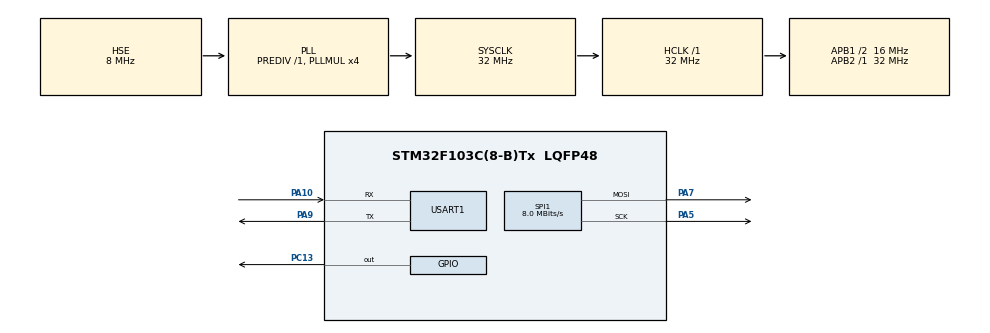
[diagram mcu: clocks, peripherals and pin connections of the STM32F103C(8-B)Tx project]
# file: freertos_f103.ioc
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FREERTOS.Tasks01=defaultTask,24,128,StartDefaultTask,Default,NULL,Dynamic,NULL,NULL
Mcu.Family=STM32F1
Mcu.Name=STM32F103C(8-B)Tx
Mcu.Package=LQFP48
NVIC.PriorityGroup=NVIC_PRIORITYGROUP_4
NVIC.SPI1_IRQn=true\:5\:0\:false\:false\:true\:true\:true\:true\:true
NVIC.TIM4_IRQn=true\:15\:0\:false\:false\:true\:false\:false\:true\:true
NVIC.TimeBase=TIM4_IRQn
NVIC.TimeBaseIP=TIM4
NVIC.USART1_IRQn=true\:5\:0\:false\:false\:true\:true\:true\:true\:true
PA10.Mode=Asynchronous
PA10.Signal=USART1_RX
PA13.Mode=Serial_Wire
PA13.Signal=SYS_JTMS-SWDIO
PA14.Mode=Serial_Wire
PA14.Signal=SYS_JTCK-SWCLK
PA5.Mode=TX_Only_Simplex_Unidirect_Master
PA5.Signal=SPI1_SCK
PA7.Mode=TX_Only_Simplex_Unidirect_Master
PA7.Signal=SPI1_MOSI
PA9.Mode=Asynchronous
PA9.Signal=USART1_TX
PC13-TAMPER-RTC.PinState=GPIO_PIN_SET
PC13-TAMPER-RTC.Signal=GPIO_Output
PD0-OSC_IN.Mode=HSE-External-Oscillator
PD0-OSC_IN.Signal=RCC_OSC_IN
PD1-OSC_OUT.Mode=HSE-External-Oscillator
PD1-OSC_OUT.Signal=RCC_OSC_OUT
ProjectManager.HeapSize=0x200
ProjectManager.StackSize=0x400
ProjectManager.TargetToolchain=MDK-ARM V5.32
RCC.AHBFreq_Value=32000000
RCC.APB1CLKDivider=RCC_HCLK_DIV2
RCC.APB1Freq_Value=16000000
RCC.APB1TimFreq_Value=32000000
RCC.APB2Freq_Value=32000000
RCC.APB2TimFreq_Value=32000000
RCC.HCLKFreq_Value=32000000
RCC.PLLMUL=RCC_PLL_MUL4
RCC.PLLSourceVirtual=RCC_PLLSOURCE_HSE
RCC.SYSCLKFreq_VALUE=32000000
RCC.SYSCLKSource=RCC_SYSCLKSOURCE_PLLCLK
RCC.USBFreq_Value=32000000
SPI1.BaudRatePrescaler=SPI_BAUDRATEPRESCALER_4
SPI1.CLKPhase=SPI_PHASE_2EDGE
SPI1.CalculateBaudRate=8.0 MBits/s
SPI1.Direction=SPI_DIRECTION_2LINES
SPI1.Mode=SPI_MODE_MASTER
SPI1.VirtualType=VM_MASTER
USART1.VirtualMode=VM_ASYNC
VP_FREERTOS_VS_CMSIS_V2.Mode=CMSIS_V2
VP_SYS_VS_tim4.Mode=TIM4
board=custom

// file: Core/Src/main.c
/* USER CODE BEGIN Header */
/**
  ******************************************************************************
  * @file           : main.c
  * @brief          : Main program body
  ******************************************************************************
  * @attention
  *
  * Copyright (c) 2024 STMicroelectronics.
  * All rights reserved.
  *
  * This software is licensed under terms that can be found in the LICENSE file
  * in the root directory of this software component.
  * If no LICENSE file comes with this software, it is provided AS-IS.
  *
  ******************************************************************************
  */
/* USER CODE END Header */
#include "main.h"
#include "cmsis_os.h"
#include "spi.h"
#include "usart.h"
#include "gpio.h"

void SystemClock_Config(void);
void MX_FREERTOS_Init(void);

int main(void)
{

  /* MCU Configuration--------------------------------------------------------*/

  /* Reset of all peripherals, Initializes the Flash interface and the Systick. */
  HAL_Init();

  /* Configure the system clock */
  SystemClock_Config();

  /* Initialize all configured peripherals */
  MX_GPIO_Init();
  MX_SPI1_Init();
  MX_USART1_UART_Init();
  /* Init scheduler */
  osKernelInitialize();
	//HAL_GPIO_WritePin(GPIOC,13,GPIO_PIN_RESET);
  /* Call init function for freertos objects (in cmsis_os2.c) */
  MX_FREERTOS_Init();
	//xTaskCreate(SPI_send_Task,"SPI_Task",128,NULL,2,&SPITask);
  /* Start scheduler */
  osKernelStart();

  /* We should never get here as control is now taken by the scheduler */

  /* Infinite loop */
  while (1)
  {

  }
}

void SystemClock_Config(void)
{
  RCC_OscInitTypeDef RCC_OscInitStruct = {0};
  RCC_ClkInitTypeDef RCC_ClkInitStruct = {0};

  /** Initializes the RCC Oscillators according to the specified parameters
  * in the RCC_OscInitTypeDef structure.
  */
  RCC_OscInitStruct.OscillatorType = RCC_OSCILLATORTYPE_HSE;
  RCC_OscInitStruct.HSEState = RCC_HSE_ON;
  RCC_OscInitStruct.HSEPredivValue = RCC_HSE_PREDIV_DIV1;
  RCC_OscInitStruct.HSIState = RCC_HSI_ON;
  RCC_OscInitStruct.PLL.PLLState = RCC_PLL_ON;
  RCC_OscInitStruct.PLL.PLLSource = RCC_PLLSOURCE_HSE;
  RCC_OscInitStruct.PLL.PLLMUL = RCC_PLL_MUL4;
  if (HAL_RCC_OscConfig(&RCC_OscInitStruct) != HAL_OK)
  {
    Error_Handler();
  }

  /** Initializes the CPU, AHB and APB buses clocks
  */
  RCC_ClkInitStruct.ClockType = RCC_CLOCKTYPE_HCLK|RCC_CLOCKTYPE_SYSCLK
                              |RCC_CLOCKTYPE_PCLK1|RCC_CLOCKTYPE_PCLK2;
  RCC_ClkInitStruct.SYSCLKSource = RCC_SYSCLKSOURCE_PLLCLK;
  RCC_ClkInitStruct.AHBCLKDivider = RCC_SYSCLK_DIV1;
  RCC_ClkInitStruct.APB1CLKDivider = RCC_HCLK_DIV2;
  RCC_ClkInitStruct.APB2CLKDivider = RCC_HCLK_DIV1;

  if (HAL_RCC_ClockConfig(&RCC_ClkInitStruct, FLASH_LATENCY_1) != HAL_OK)
  {
    Error_Handler();
  }
}

void HAL_TIM_PeriodElapsedCallback(TIM_HandleTypeDef *htim)
{
  if (htim->Instance == TIM4) {
    HAL_IncTick();
  }
}

void Error_Handler(void)
{
  __disable_irq();
  while (1)
  {
  }
}

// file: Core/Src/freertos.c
/* USER CODE BEGIN Header */
/**
  ******************************************************************************
  * File Name          : freertos.c
  * Description        : Code for freertos applications
  ******************************************************************************
  * @attention
  *
  * Copyright (c) 2024 STMicroelectronics.
  * All rights reserved.
  *
  * This software is licensed under terms that can be found in the LICENSE file
  * in the root directory of this software component.
  * If no LICENSE file comes with this software, it is provided AS-IS.
  *
  ******************************************************************************
  */
/* USER CODE END Header */

#include "FreeRTOS.h"
#include "task.h"
#include "main.h"
#include "cmsis_os.h"

/* USER CODE BEGIN Includes */
#include "queue.h"
#include "semphr.h"
#include "usart.h"
#include <string.h>
#include <stdio.h>
#include "event_groups.h"
#include "ws2812Frame.h"
#include "spi.h"
/* USER CODE END Includes */

/* USER CODE BEGIN PTD */
const char *model1 = "颜色控制";  //  Chinese
const char *model2 = "呼吸灯 ";  //  Chinese
const char *model3 = "流水灯 ";  //  Chinese
const char *model4 = "跑马灯 ";  //  Chinese
/* USER CODE END PTD */

/* USER CODE BEGIN PD */
TaskHandle_t myUARTtaskhandler;
TaskHandle_t mySPItaskhandler;
TaskHandle_t myledcontroltaskhandler;
TaskHandle_t myledbreathtaskhandler;
TaskHandle_t myledstreamtaskhandler;
TaskHandle_t myledpumataskhandler;

uint8_t breath_whileflag = 0;
uint8_t puma_whileflag = 0;
uint8_t stream_whileflag = 0;

QueueHandle_t myqueueforled;
//QueueHandle_t myqueueforcontrol;
//QueueHandle_t myqueueforbreath;
//QueueHandle_t myqueueforstream;
//QueueHandle_t myqueueforpuma;

SemaphoreHandle_t my_UART_mutex;
SemaphoreHandle_t my_SPI_mutex;
//SemaphoreHandle_t my_LED_mutex;
//SemaphoreHandle_t myledcountSemaphore;
EventGroupHandle_t myledeventgroup;

uint8_t rxData[18]; //发送18位数据包含2个0x的crc校验码
size_t  rxSize = sizeof(rxData);
uint8_t txData[18];//只要前16位
size_t  txSize = sizeof(txData);
static uint8_t txData_copy[18]; //全局变量保护
uint16_t crc_temple;
uint8_t crc[10];
uint32_t sum;
uint32_t sum_last;
//uint8_t reset[24];

//WS2812_INIT(my2_ws2812,1,reset,WS2812SendMassge);
#if 0
struct DATA
{
	uint8_t data[18];
};
struct DATA rxData;
size_t  rxSize = sizeof(rxData);
struct DATA txData;
size_t  txSize = sizeof(txData);
uint16_t crc_temple;
uint8_t crc[10];
#endif
/* USER CODE END PD */

/* USER CODE BEGIN PM */
#if 0
void mytask1(void *arg)
{
	while(1)
	{
		HAL_GPIO_WritePin(GPIOC,GPIO_PIN_13,GPIO_PIN_SET);
		HAL_Delay(500);
		HAL_GPIO_WritePin(GPIOC,GPIO_PIN_13,GPIO_PIN_RESET);
		HAL_Delay(500);
	}
}
#endif

uint32_t multiplyLastTwoHexPairs(uint8_t *data)
{
    // 获取最后4个字节，将它们组合成两个 16 位整数
    uint16_t num1 = (data[12] << 8) | data[13]; // 组合高低位，0xFF01
    uint16_t num2 = (data[14] << 8) | data[15]; // 组合高低位，0x3221

    // 计算乘积
    uint32_t product = (uint32_t)num1 * (uint32_t)num2;

    return product;
}

void InvertUint8(unsigned char* DesBuf, unsigned char* SrcBuf)
{
    int i;
    unsigned char temp = 0;

    for (i = 0; i < 8; i++)
    {
        if (SrcBuf[0] & (1 << i))
        {
            temp |= 1 << (7 - i);
        }
    }
    DesBuf[0] = temp;
}

void InvertUint16(unsigned short* DesBuf, unsigned short* SrcBuf)
{
    int i;
    unsigned short temp = 0;

    for (i = 0; i < 16; i++)
    {
        if (SrcBuf[0] & (1 << i))
        {
            temp |= 1 << (15 - i);
        }
    }
    DesBuf[0] = temp;
}

unsigned short CRC16_CCITT(unsigned char* puchMsg, unsigned int usDataLen)
{
    unsigned short wCRCin = 0x0000;
    unsigned short wCPoly = 0x1021;
    unsigned char wChar = 0;

    while (usDataLen--)
    {
        wChar = *(puchMsg++);
        InvertUint8(&wChar, &wChar);
        wCRCin ^= (wChar << 8);

        for (int i = 0; i < 8; i++)
        {
            if (wCRCin & 0x8000)
            {
							wCRCin = (wCRCin << 1) ^ wCPoly;//CRC的第一位舍去
            }
            else
            {
                wCRCin = wCRCin << 1;
            }
        }
    }
    InvertUint16(&wCRCin, &wCRCin);
    return (wCRCin);
}

void	waituart(void)
{
	xSemaphoreTake(my_UART_mutex,portMAX_DELAY);
}

void releaseuart(void)
{
	xSemaphoreGive(my_UART_mutex);
}

void	waitspi(void)
{
	xSemaphoreTake(my_SPI_mutex,portMAX_DELAY);
}

void releasespi(void)
{
	xSemaphoreGive(my_SPI_mutex);
}

#if 0
void	waitled(void)
{
	xSemaphoreTake(my_LED_mutex,portMAX_DELAY);
}

void releaseled(void)
{
	xSemaphoreGive(my_LED_mutex);
}
#endif

void HAL_UART_RxCpltCallback(UART_HandleTypeDef *huart)
{
    if (huart->Instance == USART1)
    {
        // 处理接收到的数据
				 breath_whileflag = 1;
				 puma_whileflag = 1;
				 stream_whileflag = 1;
				HAL_UART_Receive_IT(&huart1,rxData,rxSize);
				xQueueSendToBackFromISR(myqueueforled,&rxData,NULL);
    }
}

#if 0
void uarttask(void *arg)
{
	waituart();
	UART_SendString(&huart1, "uarttask1");
	releaseuart();
	HAL_UART_Receive_IT(&huart1,rxData,rxSize);
	while(1)
	{
		vTaskDelay(10);
	}
}
#endif

void spitask(void *arg)
{
	waituart();
	UART_SendString(&huart1, "spitask");
	releaseuart();
	HAL_UART_Receive_IT(&huart1,rxData,rxSize);
	while(1)
	{
		//memcpy(txData_copy, rxData, 16);
		xQueueReceive(myqueueforled,txData,portMAX_DELAY);
		//在其他灯带任务阻塞时候，先计算crc，通过运行效率
		crc_temple = CRC16_CCITT(txData,16);
		crc[0] = (crc_temple >>8 );   //高8位
		crc[1] = (crc_temple & 0xFF);	//低8位

		//新数据前先把之前灯带设置的rgb设置为0，sum为上次的灯带数目
		waitspi();
		if(sum != 0)
				{
								uint8_t color_zero[(sum/3)*24];
								WS2812_INIT(my2_ws2812,1,color_zero,WS2812SendMassge);
								for(uint32_t i=0;i<(sum/3);i++)
								{
									SetWSColor(&my2_ws2812, i, 0, 0,  0);  // RGB
								//SetWSColor(&my_ws2812, 1, 255, 0, 0);  // 将第二个灯珠设为绿色
								}

					HAL_SPI_Transmit(&hspi1, my2_ws2812.sendBuff, sum/3*24,HAL_MAX_DELAY);
				}
		releasespi();

		memcpy(txData_copy, txData, 16);
		if(txData[0]==0x48)
		{
				waituart();
				UART_SendString(&huart1, "CRC_RESULT:");
				if(crc[0] == txData[16] && crc[1] == txData[17])
				{
					//waituart();
					UART_SendString(&huart1, "TRUE");
					//releaseuart();
				}
				else
				{
					UART_SendString(&huart1, "FALSE");
				}
				UART_SendString(&huart1, "\t");
				UART_SendString(&huart1, "Model_Set:");

				switch(txData[4])
				{
					case 0:xEventGroupSetBits(myledeventgroup,(1<<0)),UART_SendUTF8String(&huart1, model1);break;
					case 1:xEventGroupSetBits(myledeventgroup,(1<<1)),UART_SendUTF8String(&huart1, model2);break;
					case 2:xEventGroupSetBits(myledeventgroup,(1<<2)),UART_SendUTF8String(&huart1, model3);break;
					case 3:xEventGroupSetBits(myledeventgroup,(1<<3)),UART_SendUTF8String(&huart1, model4);break;
				}
#if 0
				if(txData[4]==0)
					xEventGroupSetBits(myledeventgroup,(1<<0)),UART_SendString(&huart1, "sended0");
				else if(txData[4]==1)
					xEventGroupSetBits(myledeventgroup,(1<<1)),UART_SendString(&huart1, "sended1");
				else if(txData[4]==2)
					xEventGroupSetBits(myledeventgroup,(1<<2)),UART_SendString(&huart1, "sended2");
				else if(txData[4]==3)
					xEventGroupSetBits(myledeventgroup,(1<<3)),UART_SendString(&huart1, "sended3");
#endif
				//txData[0] = 0x00;
				releaseuart();
		}

				//releaseuart();
		vTaskDelay(100);
	}
}

void led_control_task(void *arg)
{
	while(1)
	{
	xEventGroupWaitBits(myledeventgroup,(1<<0),pdTRUE,pdFALSE,portMAX_DELAY);
	//waitled();
	sum = multiplyLastTwoHexPairs(txData_copy);
	waituart();
	UART_SendString(&huart1, "\t");
	UART_SendString(&huart1, "LIGHT_Number:");
	UART_SendIntString(&huart1,sum);
	releaseuart();
	if(sum != 0)
	{
		uint8_t color[(sum/3)*24];
		WS2812_INIT(my_ws2812,1,color,WS2812SendMassge);
		for(uint32_t i=0;i<(sum/3);i++)
		{
				SetWSColor(&my_ws2812, i, txData_copy[9],  txData_copy[10],  txData_copy[11]);  // RGB
			//SetWSColor(&my_ws2812, 1, 255, 0, 0);  // 将第二个灯珠设为绿色
		}
			// Send "ok" after receiving the complete packet
		waitspi();
		HAL_SPI_Transmit(&hspi1, my_ws2812.sendBuff, sum/3*24,HAL_MAX_DELAY);
		releasespi();
	}
	vTaskDelay(100);
	}

}

void led_breath_task(void *arg)
{
	while(1)
	{
	xEventGroupWaitBits(myledeventgroup,(1<<1),pdTRUE,pdFALSE,portMAX_DELAY);
	sum = multiplyLastTwoHexPairs(txData_copy);
	waituart();
	breath_whileflag=0;
	UART_SendString(&huart1, "\t");
	UART_SendString(&huart1, "LIGHT_Number:");
	UART_SendIntString(&huart1,sum);
	releaseuart();
	if(sum != 0)
		{
			uint8_t color[(sum/3)*24];
			WS2812_INIT(my_ws2812,1,color,WS2812SendMassge);
			while(1)
			{
				if (breath_whileflag)
					{
							// 清除标志
									breath_whileflag = 0;
							// 退出循环或执行其他操作
							break;
					}
					//waitled();
					waitspi();
							//pwm 上升
						for(uint8_t j=10;j>0;j--)
							{
									for(uint32_t i=0;i<(sum/3);i++)
									{
										SetWSColor(&my_ws2812, i, rxData[9]/j,  rxData[10]/j,  rxData[11]/j);  // RGB
									}

									HAL_SPI_Transmit(&hspi1, my_ws2812.sendBuff, sum/3*24,HAL_MAX_DELAY);
									vTaskDelay(100);
									if (breath_whileflag)
														{
																break;
														}
							}
					releasespi();
					if (breath_whileflag)
												{
														// 清除标志
																breath_whileflag = 0;
														// 退出循环或执行其他操作
														break;
												}
						waitspi();
						//pwm下降
						for(uint8_t j=1;j<11;j++)
						{
								for(uint32_t i=0;i<(sum/3);i++)
								{
									SetWSColor(&my_ws2812, i, rxData[9]/j,  rxData[10]/j,  rxData[11]/j);  // RGB
								}

								HAL_SPI_Transmit(&hspi1, my_ws2812.sendBuff, sum/3*24,HAL_MAX_DELAY);

								vTaskDelay(100);

								if (breath_whileflag)
														{
																break;
														}
						}

					releasespi();
			}

		}
		vTaskDelay(100);
	}
}

void led_stream_task(void *arg)
{
	while(1)
	{
		xEventGroupWaitBits(myledeventgroup,(1<<2),pdTRUE,pdFALSE,portMAX_DELAY);
		sum = multiplyLastTwoHexPairs(txData_copy);
		waituart();
		stream_whileflag=0;
		UART_SendString(&huart1, "\t");
		UART_SendString(&huart1, "LIGHT_Number:");
		UART_SendIntString(&huart1,sum);
		releaseuart();

			if(sum != 0)
			{
				uint8_t color[(sum/3)*24];
				WS2812_INIT(my_ws2812,1,color,WS2812SendMassge);
				while(1)
				{
					if (stream_whileflag)
								{
										// 清除标志
												stream_whileflag = 0;

										// 退出循环或执行其他操作
										break;
								}

					waitspi();
					for(uint32_t i=0;i<(sum/3);i++)
					{
							SetWSColor(&my_ws2812, i, txData_copy[9],  txData_copy[10],  txData_copy[11]);  // RGB
							HAL_SPI_Transmit(&hspi1, my_ws2812.sendBuff, (i+1)*24,HAL_MAX_DELAY);
							vTaskDelay(200);

							if (stream_whileflag)
									{
											break;
									}
					}
					releasespi();

					if (stream_whileflag)
								{
										// 清除标志
												stream_whileflag = 0;

										// 退出循环或执行其他操作
										break;
								}

					waitspi();
					for(int32_t j=(sum/3)-1;j>=0;j--)
					{
							SetWSColor(&my_ws2812, j, 0,  0,  0);  // RGB
							HAL_SPI_Transmit(&hspi1, my_ws2812.sendBuff, (sum/3)*24,HAL_MAX_DELAY);
							vTaskDelay(200);
							if (stream_whileflag)
									{
											break;
									}
					}
					releasespi();
				}

			}

		vTaskDelay(100);
	}

}

void led_puma_task(void *arg)
{
	while(1)
	{
		xEventGroupWaitBits(myledeventgroup,(1<<3),pdTRUE,pdFALSE,portMAX_DELAY);
		sum = multiplyLastTwoHexPairs(txData_copy);
		waituart();
		puma_whileflag=0;
		UART_SendString(&huart1, "\t");
		UART_SendString(&huart1, "LIGHT_Number:");
		UART_SendIntString(&huart1,sum);
		releaseuart();
		if(sum != 0)
							{
								uint8_t color[(sum/3)*24];
								WS2812_INIT(my_ws2812,1,color,WS2812SendMassge);
								while(1)
								{
									if (puma_whileflag)
												{
														// 清除标志
																puma_whileflag = 0;

														// 退出循环或执行其他操作
														break;
												}

									for(uint32_t i=0;i<(sum/3);i++)
									{
											for(uint32_t j=0;j<(sum/3);j++)
											{
													SetWSColor(&my_ws2812, j, 0,  0,  0);  // RGB
											}
											SetWSColor(&my_ws2812, i, txData_copy[9],  txData_copy[10],  txData_copy[11]);  // RGB
											HAL_SPI_Transmit(&hspi1, my_ws2812.sendBuff, (sum/3)*24,HAL_MAX_DELAY);
											vTaskDelay(200);
											if (puma_whileflag)
												{
														break;
												}
									}
								}
							}

		vTaskDelay(100);
	}

}
/* USER CODE END PM */

/* Definitions for defaultTask */
#if 0
osThreadId_t defaultTaskHandle;
const osThreadAttr_t defaultTask_attributes = {
  .name = "defaultTask",
  .stack_size = 32,
  .priority = (osPriority_t) osPriorityLow,
};
#endif

void StartDefaultTask(void *argument);

void MX_FREERTOS_Init(void); /* (MISRA C 2004 rule 8.1) */

void MX_FREERTOS_Init(void) {
  /* USER CODE BEGIN Init */
	my_UART_mutex = xSemaphoreCreateMutex();
	my_SPI_mutex = xSemaphoreCreateMutex();
	//my_LED_mutex = xSemaphoreCreateMutex();
	myqueueforled = xQueueCreate(5,rxSize);
	//UART_SendIntString(&huart1,rxSize);
	myledeventgroup = xEventGroupCreate();
	//myledcountSemaphore = xSemaphoreCreateCounting(4,1); /* USER CODE END Init */
	//设置rgb为0的数据帧
	//SetWSColor(&my2_ws2812, 0, 0, 0, 0);

  /* Create the thread(s) */
  /* creation of defaultTask */
  //defaultTaskHandle = osThreadNew(StartDefaultTask, NULL, &defaultTask_attributes);
	xTaskCreate(spitask,"spitask",64,NULL,osPriorityNormal+1,&mySPItaskhandler);
	//xTaskCreate(uarttask,"uarttask",64,NULL,osPriorityNormal,&myUARTtaskhandler);
	xTaskCreate(led_control_task,"led_control_task",64,NULL,osPriorityNormal,&myledcontroltaskhandler);
	xTaskCreate(led_breath_task,"led_breath_task",64,NULL,osPriorityNormal,&myledbreathtaskhandler);
	xTaskCreate(led_stream_task,"led_stream_task",64,NULL,osPriorityNormal,&myledstreamtaskhandler);
	xTaskCreate(led_puma_task,"led_puma_task",64,NULL,osPriorityNormal,&myledpumataskhandler);

}

void StartDefaultTask(void *argument)
{
  /* USER CODE BEGIN StartDefaultTask */

  /* Infinite loop */
  for(;;)
  {

    osDelay(10);
  }
  /* USER CODE END StartDefaultTask */
}
